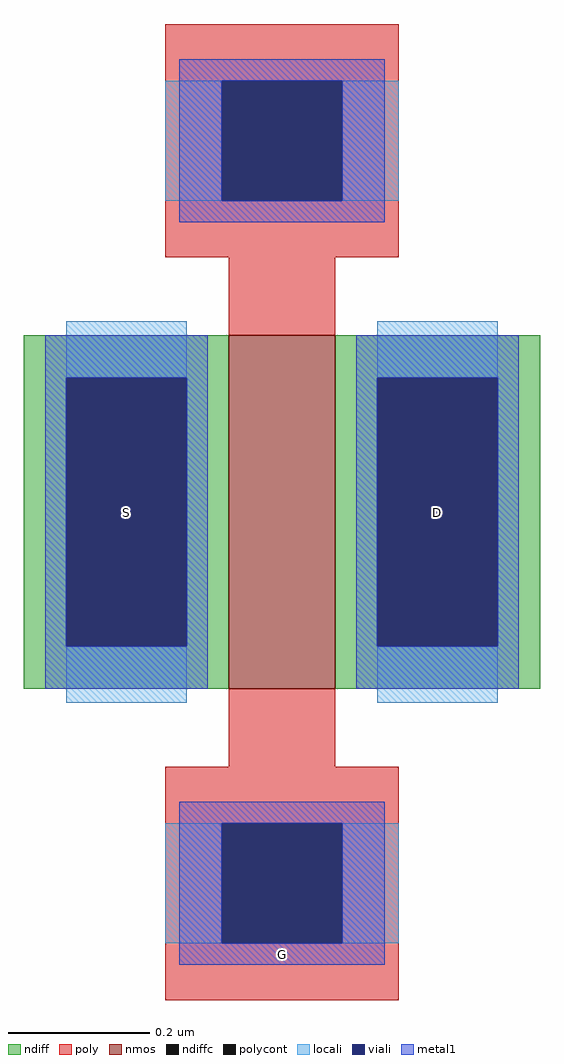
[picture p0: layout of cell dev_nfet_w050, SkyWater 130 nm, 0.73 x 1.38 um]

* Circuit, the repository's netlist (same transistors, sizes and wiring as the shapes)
* NGSPICE file created from dev_nfet_w050.ext - technology: sky130B

.subckt dev_nfet_w050
X0 a_15_n50# a_n33_n138# a_n73_n50# SUB sky130_fd_pr__nfet_01v8 ad=0.145 pd=1.58 as=0.145 ps=1.58 w=0.5 l=0.15
.ends

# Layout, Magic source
magic
tech sky130B
magscale 1 2
<< nmos >>
rect -15 -50 15 50
<< ndiff >>
rect -73 38 -15 50
rect -73 -38 -61 38
rect -27 -38 -15 38
rect -73 -50 -15 -38
rect 15 38 73 50
rect 15 -38 27 38
rect 61 -38 73 38
rect 15 -50 73 -38
<< ndiffc >>
rect -61 -38 -27 38
rect 27 -38 61 38
<< poly >>
rect -33 122 33 138
rect -33 88 -17 122
rect 17 88 33 122
rect -33 72 33 88
rect -15 50 15 72
rect -15 -72 15 -50
rect -33 -88 33 -72
rect -33 -122 -17 -88
rect 17 -122 33 -88
rect -33 -138 33 -122
<< polycont >>
rect -17 88 17 122
rect -17 -122 17 -88
<< locali >>
rect -33 88 -17 122
rect 17 88 33 122
rect -61 38 -27 54
rect -61 -54 -27 -38
rect 27 38 61 54
rect 27 -54 61 -38
rect -33 -122 -17 -88
rect 17 -122 33 -88
<< viali >>
rect -17 88 17 122
rect -61 -38 -27 38
rect 27 -38 61 38
rect -17 -122 17 -88
<< metal1 >>
rect -29 122 29 128
rect -29 88 -17 122
rect 17 88 29 122
rect -29 82 29 88
rect -67 38 -21 50
rect -67 -38 -61 38
rect -27 -38 -21 38
rect -67 -50 -21 -38
rect 21 38 67 50
rect 21 -38 27 38
rect 61 -38 67 38
rect 21 -50 67 -38
rect -29 -88 29 -82
rect -29 -122 -17 -88
rect 17 -122 29 -88
rect -29 -128 29 -122
<< labels >>
flabel metal1 s -29 -128 29 -122 0 FreeSans 16 0 0 0 G
port 0 nsew
flabel metal1 s -67 -50 -21 50 0 FreeSans 16 0 0 0 S
port 1 nsew
flabel metal1 s 21 -50 67 50 0 FreeSans 16 0 0 0 D
port 2 nsew
<< end >>
